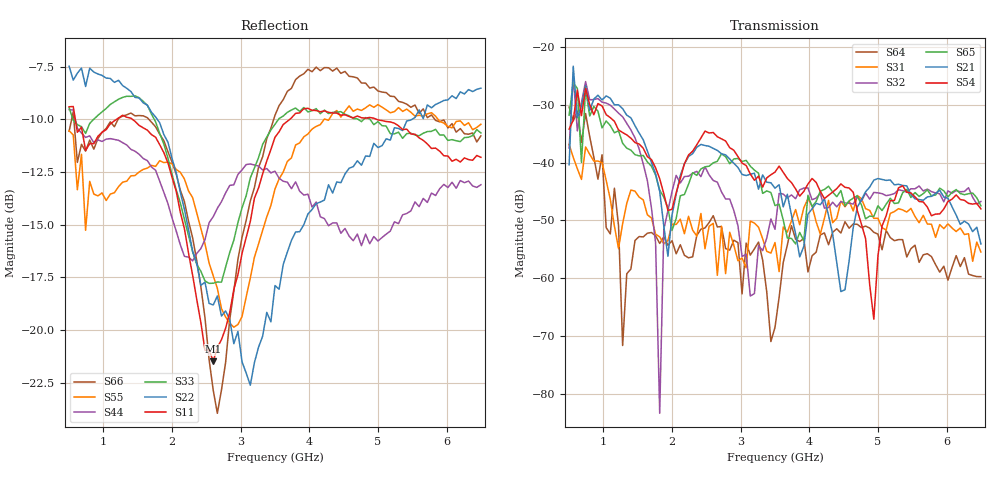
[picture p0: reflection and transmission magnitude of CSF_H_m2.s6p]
!Keysight Technologies,M9804A,MY58100912,A.14.10.03
!Date: Thursday, April 27, 2023 10:28:33
!Correction: S11(C  6-Port  )
!S12(C  6-Port  )
!S13(C  6-Port  )
!S14(C  6-Port  )
!S15(C  6-Port  )
!S16(C  6-Port  )
!S21(C  6-Port  )
!S22(C  6-Port  )
!S23(C  6-Port  )
!S24(C  6-Port  )
!S25(C  6-Port  )
!S26(C  6-Port  )
!S31(C  6-Port  )
!S32(C  6-Port  )
!S33(C  6-Port  )
!S34(C  6-Port  )
!S35(C  6-Port  )
!S36(C  6-Port  )
!S41(C  6-Port  )
!S42(C  6-Port  )
!S43(C  6-Port  )
!S44(C  6-Port  )
!S45(C  6-Port  )
!S46(C  6-Port  )
!S51(C  6-Port  )
!S52(C  6-Port  )
!S53(C  6-Port  )
!S54(C  6-Port  )
!S55(C  6-Port  )
!S56(C  6-Port  )
!S61(C  6-Port  )
!S62(C  6-Port  )
!S63(C  6-Port  )
!S64(C  6-Port  )
!S65(C  6-Port  )
!S66(C  6-Port  )
!S6P File: Measurement: :
# Hz S  RI  R 50
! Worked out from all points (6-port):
!   101 points, 500 MHz to 6.5 GHz, reference 50 ohm
!   strongest paths, dB at 500 MHz, 2 GHz, 3.5 GHz, 5 GHz, 6.5 GHz:
!     S54: -34.2, -48.1, -41.7, -56.1, -48.0
!     S21: -40.4, -49.0, -44.4, -42.8, -54.1
!     S65: -31.8, -51.7, -47.4, -47.5, -47.5
!     S32: -37.5, -45.0, -51.5, -45.2, -46.7
!     S31: -36.9, -50.6, -53.8, -49.6, -55.5
!     S64: -30.4, -53.5, -68.5, -52.4, -59.7
!   lowest |S11| = -21.5 dB at 2.6 GHz (marker M1), VSWR 1.18, Z = 42.5 + j2.19 ohm
!   |S11| at or under -10 dB: 589.9 MHz to 1.191 GHz (601.6 MHz wide, 67.5 % of centre); 1.422 GHz to 3.715 GHz (2.293 GHz wide, 89.3 % of centre); 4.98 GHz to end of sweep
